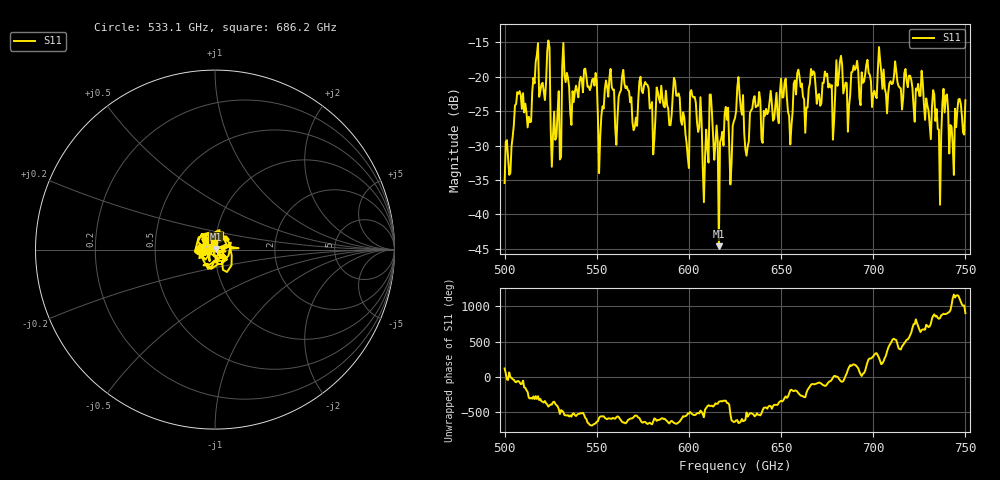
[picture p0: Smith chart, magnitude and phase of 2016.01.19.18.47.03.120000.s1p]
!Created with skrf (http://scikit-rf.org).
# GHz S RI R 50.0
!freq ReS11 ImS11
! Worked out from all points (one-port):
!   401 points, 500 GHz to 750 GHz, reference 50 ohm
!   lowest |S11| = -44.6 dB at 616.2 GHz (marker M1), VSWR 1.01, Z = 50.6 + j0.11 ohm
!   |S11| at or under -10 dB: start of sweep to end of sweep
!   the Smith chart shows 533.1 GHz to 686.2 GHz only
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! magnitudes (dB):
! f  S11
! 500 GHz  -35.4
! 506.9 GHz  -22.3
! 513.1 GHz  -25.8
! 516.9 GHz  -17.9
! 523.1 GHz  -16.3
! 526.9 GHz  -25.1
! 531.2 GHz  -18.6
! 548.8 GHz  -21.3
! 551.9 GHz  -28.7
! 556.2 GHz  -22.9
! 562.5 GHz  -22.3
! 593.8 GHz  -22.8
! 598.8 GHz  -29.7
! 601.9 GHz  -22.8
! 608.8 GHz  -31.7
! 612.5 GHz  -25.2
! 616.2 GHz  -44.6
! 625 GHz  -26.0
! 628.1 GHz  -24.6
! 631.2 GHz  -31.5
! 636.9 GHz  -24.2
! 656.2 GHz  -25.2
! 687.5 GHz  -22.7
! 718.8 GHz  -21.6
! 735.6 GHz  -27.7
! 738.8 GHz  -25.2
! 742.5 GHz  -27.3
! 750 GHz  -23.4
